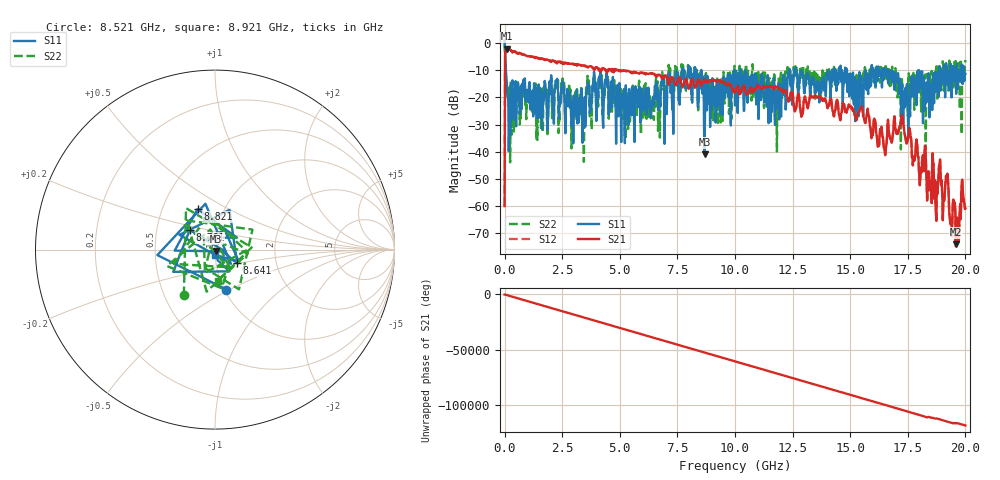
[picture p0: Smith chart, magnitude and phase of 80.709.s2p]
! Created with skrf 1.9.0 (http://scikit-rf.org).
# Hz S RI R 50.0
!freq ReS11 ImS11 ReS21 ImS21 ReS12 ImS12 ReS22 ImS22
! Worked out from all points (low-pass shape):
!   1001 points, 1 MHz to 20 GHz, reference 50 ohm
!   highest |S21| = -1.95 dB at 121 MHz (marker M1); lowest = -74.2 dB at 19.58 GHz (marker M2)
!   |S21| within 3 dB of the highest: 20.84 MHz to 1.175 GHz (1.155 GHz wide, 193 % of centre); 1.186 GHz to 1.213 GHz (26.56 MHz wide, 2.21 % of centre)
!   lowest |S11| = -40.9 dB at 8.681 GHz (marker M3), VSWR 1.02, Z = 50.5 - j0.727 ohm
!   |S11| at or under -10 dB: 57.51 MHz to 7.706 GHz (7.648 GHz wide, 197 % of centre); 10.44 GHz to 12.36 GHz (1.914 GHz wide, 16.8 % of centre); 16.7 GHz to 18.87 GHz (2.173 GHz wide, 12.2 % of centre) (the widest 3 of 42)
!   |S22| runs from -43.9 to -0.2 dB; largest |S21 - S12| = 0.021
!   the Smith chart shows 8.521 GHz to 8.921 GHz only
!   S11 on the Smith chart (normalised r, x): 8.521 GHz: 1.02, -0.48; 8.641 GHz: 1.26, -0.19; 8.761 GHz: 0.74, +0.17; 8.821 GHz: 0.75, +0.36; 8.921 GHz: 1.00, -0.06
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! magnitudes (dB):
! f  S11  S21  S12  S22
! 1 MHz  1.1  -60.1  -60.1  -0.2
! 121 MHz  -19.6  -1.9  -1.9  -17.9
! 301 MHz  -28.4  -2.6  -2.6  -33.8
! 2.221 GHz  -13.7  -7.2  -7.2  -15.5
! 3.341 GHz  -16.8  -8.2  -8.2  -19.8
! 4.141 GHz  -11.4  -10.2  -10.0  -12.3
! 5.261 GHz  -15.5  -10.2  -10.2  -35.5
! 6.681 GHz  -24.8  -11.7  -11.6  -24.7
! 7.161 GHz  -12.2  -14.2  -14.1  -13.6
! 8.521 GHz  -12.7  -15.3  -15.4  -10.2
! 8.641 GHz  -16.9  -14.3  -14.4  -11.8
! 8.681 GHz  -40.9  -13.3  -13.3  -30.7
! 8.761 GHz  -15.0  -13.6  -13.4  -18.8
! 8.821 GHz  -12.2  -14.0  -13.7  -14.1
! 8.921 GHz  -30.9  -14.0  -14.0  -15.2
! 10 GHz  -23.0  -17.3  -17.9  -9.2
! 11.82 GHz  -19.8  -16.1  -16.1  -39.9
! 13.34 GHz  -15.1  -19.9  -19.5  -14.4
! 16.68 GHz  -10.1  -32.8  -33.0  -9.6
! 17.24 GHz  -16.7  -26.4  -26.4  -12.8
! 19.58 GHz  -12.0  -74.2  -74.9  -6.5
! 20 GHz  -11.2  -61.0  -60.3  -6.1
